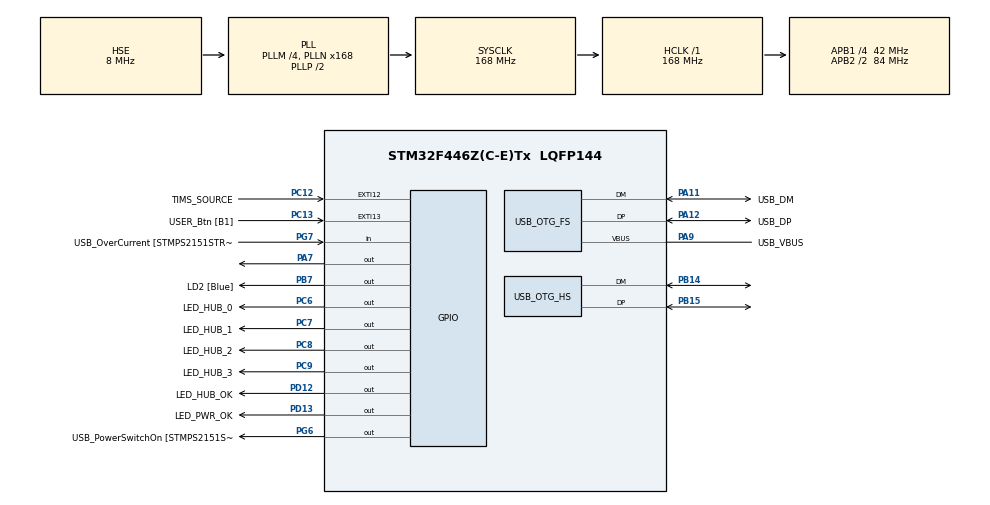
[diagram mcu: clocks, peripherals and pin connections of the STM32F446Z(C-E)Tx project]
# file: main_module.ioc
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Mcu.Family=STM32F4
Mcu.Name=STM32F446Z(C-E)Tx
Mcu.Package=LQFP144
NVIC.EXTI15_10_IRQn=true\:0\:0\:false\:false\:true\:true
NVIC.OTG_FS_IRQn=true\:0\:0\:false\:false\:true\:false
NVIC.OTG_HS_IRQn=true\:0\:0\:false\:false\:true\:false
NVIC.PriorityGroup=NVIC_PRIORITYGROUP_4
NVIC.TIM3_IRQn=true\:0\:0\:false\:false\:true\:true
PA10.GPIO_Label=USB_ID
PA10.Signal=USB_OTG_FS_ID
PA11.GPIO_Label=USB_DM
PA11.Mode=Host_Only
PA11.Signal=USB_OTG_FS_DM
PA12.GPIO_Label=USB_DP
PA12.Mode=Host_Only
PA12.Signal=USB_OTG_FS_DP
PA13.GPIO_Label=TMS
PA13.Mode=Serial_Wire
PA13.Signal=SYS_JTMS-SWDIO
PA14.GPIO_Label=TCK
PA14.Mode=Serial_Wire
PA14.Signal=SYS_JTCK-SWCLK
PA7.Signal=GPIO_Output
PA8.GPIO_Label=USB_SOF [TP1]
PA8.Signal=USB_OTG_FS_SOF
PA9.GPIO_Label=USB_VBUS
PA9.Mode=Activate_VBUS
PA9.Signal=USB_OTG_FS_VBUS
PB14.Mode=Device_Only_FS
PB14.Signal=USB_OTG_HS_DM
PB15.Mode=Device_Only_FS
PB15.Signal=USB_OTG_HS_DP
PB7.GPIO_Label=LD2 [Blue]
PB7.Signal=GPIO_Output
PC12.GPIO_Label=TIMS_SOURCE
PC12.Signal=GPXTI12
PC13.GPIO_Label=USER_Btn [B1]
PC13.Signal=GPXTI13
PC14-OSC32_IN.Mode=LSE-External-Oscillator
PC14-OSC32_IN.Signal=RCC_OSC32_IN
PC15-OSC32_OUT.Mode=LSE-External-Oscillator
PC15-OSC32_OUT.Signal=RCC_OSC32_OUT
PC6.GPIO_Label=LED_HUB_0
PC6.GPIO_PuPd=GPIO_PULLDOWN
PC6.Signal=GPIO_Output
PC7.GPIO_Label=LED_HUB_1
PC7.GPIO_PuPd=GPIO_PULLDOWN
PC7.Signal=GPIO_Output
PC8.GPIO_Label=LED_HUB_2
PC8.GPIO_PuPd=GPIO_PULLDOWN
PC8.Signal=GPIO_Output
PC9.GPIO_Label=LED_HUB_3
PC9.GPIO_PuPd=GPIO_PULLDOWN
PC9.Signal=GPIO_Output
PD12.GPIO_Label=LED_HUB_OK
PD12.GPIO_PuPd=GPIO_PULLDOWN
PD12.Signal=GPIO_Output
PD13.GPIO_Label=LED_PWR_OK
PD13.GPIO_PuPd=GPIO_PULLDOWN
PD13.Signal=GPIO_Output
PD8.GPIO_Label=STLK_RX [STM32F103CBT6_PA3]
PD8.Signal=USART3_TX
PD9.GPIO_Label=STLK_TX [STM32F103CBT6_PA2]
PD9.Signal=USART3_RX
PG6.GPIO_Label=USB_PowerSwitchOn [STMPS2151STR_EN]
PG6.Signal=GPIO_Output
PG7.GPIO_Label=USB_OverCurrent [STMPS2151STR_FAULT]
PG7.Signal=GPIO_Input
PH0-OSC_IN.GPIO_Label=MCO [STM32F103CBT6_PA8]
PH0-OSC_IN.Mode=HSE-External-Clock-Source
PH0-OSC_IN.Signal=RCC_OSC_IN
PH1-OSC_OUT.Mode=HSE-External-Clock-Source
PH1-OSC_OUT.Signal=RCC_OSC_OUT
ProjectManager.HeapSize=0x200
ProjectManager.StackSize=0x400
ProjectManager.TargetToolchain=TrueSTUDIO
RCC.48MHZClocksFreq_Value=24000000
RCC.AHBFreq_Value=168000000
RCC.APB1CLKDivider=RCC_HCLK_DIV4
RCC.APB1Freq_Value=42000000
RCC.APB1TimFreq_Value=84000000
RCC.APB2CLKDivider=RCC_HCLK_DIV2
RCC.APB2Freq_Value=84000000
RCC.APB2TimFreq_Value=168000000
RCC.CortexFreq_Value=168000000
RCC.HCLKFreq_Value=168000000
RCC.HSE_VALUE=8000000
RCC.HSI_VALUE=16000000
RCC.PLLM=4
RCC.PLLMUL=RCC_PLL_MUL9
RCC.PLLN=168
RCC.PLLQ=7
RCC.PRESCALERUSB=RCC_USBCLKSOURCE_PLL_DIV1_5
RCC.SYSCLKFreq_VALUE=168000000
RCC.SYSCLKSource=RCC_SYSCLKSOURCE_PLLCLK
RCC.SYSCLKSourceVirtual=RCC_SYSCLKSOURCE_PLLCLK
RCC.USBFreq_Value=48000000
RCC.VCOOutputFreq_Value=336000000
TIM3.Period=4199
TIM3.Prescaler=3
TIM3.TIM_MasterOutputTrigger=TIM_TRGO_UPDATE
USB_DEVICE.CLASS_NAME_HS=CDC
USB_DEVICE.VirtualMode-CDC_HS=Cdc
USB_DEVICE.VirtualModeHS=Cdc_HS
USB_HOST.USBH_HandleTypeDef-HID_FS=hUsbHostFS
USB_HOST.VirtualModeFS=Hid
USB_OTG_FS.VirtualMode=Host_Only
USB_OTG_FS.phy_itface=HCD_PHY_EMBEDDED
USB_OTG_HS.VirtualMode-Device_Only_FS=Device_Only_FS
VP_RTC_VS_RTC_Activate.Mode=RTC_Enabled
VP_RTC_VS_RTC_Calendar.Mode=RTC_Calendar
VP_TIM3_VS_ClockSourceINT.Mode=Internal
VP_USB_DEVICE_VS_USB_DEVICE_CDC_HS.Mode=CDC_HS
VP_USB_HOST_VS_USB_HOST_HID_FS.Mode=HID_FS
board=NUCLEO-F446ZE

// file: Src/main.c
/**
  ******************************************************************************
  * @file           : main.c
  * @brief          : Main program body
  ******************************************************************************
  * This notice applies to any and all portions of this file
  * that are not between comment pairs USER CODE BEGIN and
  * USER CODE END. Other portions of this file, whether
  * inserted by the user or by software development tools
  * are owned by their respective copyright owners.
  *
  * Copyright (c) 2018 STMicroelectronics International N.V.
  * All rights reserved.
  *
  * Redistribution and use in source and binary forms, with or without
  * modification, are permitted, provided that the following conditions are met:
  *
  * 1. Redistribution of source code must retain the above copyright notice,
  *    this list of conditions and the following disclaimer.
  * 2. Redistributions in binary form must reproduce the above copyright notice,
  *    this list of conditions and the following disclaimer in the documentation
  *    and/or other materials provided with the distribution.
  * 3. Neither the name of STMicroelectronics nor the names of other
  *    contributors to this software may be used to endorse or promote products
  *    derived from this software without specific written permission.
  * 4. This software, including modifications and/or derivative works of this
  *    software, must execute solely and exclusively on microcontroller or
  *    microprocessor devices manufactured by or for STMicroelectronics.
  * 5. Redistribution and use of this software other than as permitted under
  *    this license is void and will automatically terminate your rights under
  *    this license.
  *
  * THIS SOFTWARE IS PROVIDED BY STMICROELECTRONICS AND CONTRIBUTORS "AS IS"
  * AND ANY EXPRESS, IMPLIED OR STATUTORY WARRANTIES, INCLUDING, BUT NOT
  * LIMITED TO, THE IMPLIED WARRANTIES OF MERCHANTABILITY, FITNESS FOR A
  * PARTICULAR PURPOSE AND NON-INFRINGEMENT OF THIRD PARTY INTELLECTUAL PROPERTY
  * RIGHTS ARE DISCLAIMED TO THE FULLEST EXTENT PERMITTED BY LAW. IN NO EVENT
  * SHALL STMICROELECTRONICS OR CONTRIBUTORS BE LIABLE FOR ANY DIRECT, INDIRECT,
  * INCIDENTAL, SPECIAL, EXEMPLARY, OR CONSEQUENTIAL DAMAGES (INCLUDING, BUT NOT
  * LIMITED TO, PROCUREMENT OF SUBSTITUTE GOODS OR SERVICES; LOSS OF USE, DATA,
  * OR PROFITS; OR BUSINESS INTERRUPTION) HOWEVER CAUSED AND ON ANY THEORY OF
  * LIABILITY, WHETHER IN CONTRACT, STRICT LIABILITY, OR TORT (INCLUDING
  * NEGLIGENCE OR OTHERWISE) ARISING IN ANY WAY OUT OF THE USE OF THIS SOFTWARE,
  * EVEN IF ADVISED OF THE POSSIBILITY OF SUCH DAMAGE.
  *
  ******************************************************************************
  */
#include "main.h"
#include "stm32f4xx_hal.h"
#include "rtc.h"
#include "tim.h"
#include "usb_device.h"
#include "usb_host.h"
#include "gpio.h"

/* USER CODE BEGIN Includes */
#include "usbh_def.h"
#include "stm32f4xx.h"

#include "usbh_core.h"
#include "usbh_hid.h"
#include "usbh_hub.h"

#include "usbh_hid_digital_io.h"
#include "usbh_hid_analog_io.h"
#include "log.h"

#include "ring_buffer.h"
#include "cmd_interpreter.h"
#include <math.h>
/* USER CODE END Includes */

/* USER CODE BEGIN PV */
/* Private variables ---------------------------------------------------------*/

/* USER CODE END PV */

void SystemClock_Config(void);
void MX_USB_HOST_Process(void);

/* USER CODE BEGIN PFP */
/* Private function prototypes -----------------------------------------------*/

/* USER CODE END PFP */
USBH_HandleTypeDef hUSBHost[5];

static void USBH_UserProcess (USBH_HandleTypeDef *pHost, uint8_t vId);
static void hub_process();
/* USER CODE BEGIN 0 */
uint8_t enabled = 0;
uint8_t trigger = 0;
uint16_t sinus[200];
extern uint8_t UserRxBuffer[100];
ringBuffer_type VCP_Buffer;
uint8_t sync_flag = 0;
/* USER CODE END 0 */

int main(void)
{
	/* USER CODE BEGIN 1 */
	uint16_t sample;
	for (uint8_t i = 0; i < 200; i++)
	{
		sample = (uint16_t)rint(( sin(i*2*3.14/200)+1)*1024 );
		if (sample >= 4095)
		{
			sinus[i] = 4095;
		}
		else
		{
			sinus[i] = sample;
		}
	}
	/* USER CODE END 1 */

	/* MCU Configuration----------------------------------------------------------*/

	/* Reset of all peripherals, Initializes the Flash interface and the Systick. */
	HAL_Init();

	/* Configure the system clock */
	SystemClock_Config();

	/* Initialize all configured peripherals */
	MX_GPIO_Init();
	//MX_USART3_UART_Init();
	//MX_USB_HOST_Init();
	MX_USB_DEVICE_Init();
	MX_TIM3_Init();
	MX_RTC_Init();
	/* USER CODE BEGIN 2 */
	//LOG_INIT(USART3, 115200);

	//LOG("\033[2J\033[H");
	//LOG(" ");
	LOG("APP RUNNING...");
	LOG("MCU-ID %08X", DBGMCU->IDCODE);

	memset(&hUSBHost[0], 0, sizeof(USBH_HandleTypeDef));

	hUSBHost[0].valid   = 1;
	hUSBHost[0].address = USBH_DEVICE_ADDRESS;
	hUSBHost[0].Pipes   = USBH_malloc(sizeof(uint32_t) * USBH_MAX_PIPES_NBR);

	USBH_Init(&hUSBHost[0], USBH_UserProcess, ID_USB_HOST_FS);
	USBH_RegisterClass(&hUSBHost[0], USBH_HID_CLASS);
	USBH_RegisterClass(&hUSBHost[0], USBH_HUB_CLASS);

	USBH_Start(&hUSBHost[0]);

	Ring_Buffer_Reset(&VCP_Buffer);

	state_leds.hub_led = 0;
	state_leds.hub_port_led[0] = 0;
	state_leds.hub_port_led[1] = 0;
	state_leds.hub_port_led[2] = 0;
	state_leds.hub_port_led[3] = 0;
  /* USER CODE END 2 */

  /* Infinite loop */
  while (1)
  {
    //MX_USB_HOST_Process();
    hub_process();
  }

}

void SystemClock_Config(void)
{

  RCC_OscInitTypeDef RCC_OscInitStruct;
  RCC_ClkInitTypeDef RCC_ClkInitStruct;
  RCC_PeriphCLKInitTypeDef PeriphClkInitStruct;

    /**Configure the main internal regulator output voltage
    */
  __HAL_RCC_PWR_CLK_ENABLE();

  __HAL_PWR_VOLTAGESCALING_CONFIG(PWR_REGULATOR_VOLTAGE_SCALE1);

    /**Initializes the CPU, AHB and APB busses clocks
    */
  RCC_OscInitStruct.OscillatorType = RCC_OSCILLATORTYPE_LSI|RCC_OSCILLATORTYPE_HSE;
  RCC_OscInitStruct.HSEState = RCC_HSE_BYPASS;
  RCC_OscInitStruct.LSEState = RCC_LSE_ON;
  RCC_OscInitStruct.LSIState = RCC_LSI_ON;
  RCC_OscInitStruct.PLL.PLLState = RCC_PLL_ON;
  RCC_OscInitStruct.PLL.PLLSource = RCC_PLLSOURCE_HSE;
  RCC_OscInitStruct.PLL.PLLM = 4;
  RCC_OscInitStruct.PLL.PLLN = 168;
  RCC_OscInitStruct.PLL.PLLP = RCC_PLLP_DIV2;
  RCC_OscInitStruct.PLL.PLLQ = 7;
  RCC_OscInitStruct.PLL.PLLR = 2;
  if (HAL_RCC_OscConfig(&RCC_OscInitStruct) != HAL_OK)
  {
    _Error_Handler(__FILE__, __LINE__);
  }

    /**Initializes the CPU, AHB and APB busses clocks
    */
  RCC_ClkInitStruct.ClockType = RCC_CLOCKTYPE_HCLK|RCC_CLOCKTYPE_SYSCLK
                              |RCC_CLOCKTYPE_PCLK1|RCC_CLOCKTYPE_PCLK2;
  RCC_ClkInitStruct.SYSCLKSource = RCC_SYSCLKSOURCE_PLLCLK;
  RCC_ClkInitStruct.AHBCLKDivider = RCC_SYSCLK_DIV1;
  RCC_ClkInitStruct.APB1CLKDivider = RCC_HCLK_DIV4;
  RCC_ClkInitStruct.APB2CLKDivider = RCC_HCLK_DIV2;

  if (HAL_RCC_ClockConfig(&RCC_ClkInitStruct, FLASH_LATENCY_5) != HAL_OK)
  {
    _Error_Handler(__FILE__, __LINE__);
  }

  PeriphClkInitStruct.PeriphClockSelection = RCC_PERIPHCLK_RTC|RCC_PERIPHCLK_CLK48;
  PeriphClkInitStruct.RTCClockSelection = RCC_RTCCLKSOURCE_LSI;
  PeriphClkInitStruct.Clk48ClockSelection = RCC_CLK48CLKSOURCE_PLLQ;
  if (HAL_RCCEx_PeriphCLKConfig(&PeriphClkInitStruct) != HAL_OK)
  {
    _Error_Handler(__FILE__, __LINE__);
  }

    /**Configure the Systick interrupt time
    */
  HAL_SYSTICK_Config(HAL_RCC_GetHCLKFreq()/1000);

    /**Configure the Systick
    */
  HAL_SYSTICK_CLKSourceConfig(SYSTICK_CLKSOURCE_HCLK);

  /* SysTick_IRQn interrupt configuration */
  HAL_NVIC_SetPriority(SysTick_IRQn, 0, 0);
}

/* USER CODE BEGIN 4 */
void hub_process()
{
	static uint8_t current_loop = -1;
	static USBH_HandleTypeDef *_phost = 0;

	if(_phost != NULL && _phost->valid == 1)
	{
		USBH_Process(_phost);

		if(_phost->busy)
			return;
	}

	while(1)
	{
		uint8_t UserRxBuffer[100];
		uint8_t UserRxLength;
		current_loop++;
		volatile USBH_StatusTypeDef status;

		UserRxLength = Ring_Buffer_Search_Frame(&VCP_Buffer, UserRxBuffer);
		if (UserRxLength != 0)
		{
			if (UserRxBuffer[1] == 'D')
			{
				Command_Interpreter_Digital(UserRxBuffer);
			}
			else if (UserRxBuffer[1] == 'M')
			{
				Command_Interpreter_Main(UserRxBuffer);
			}
		}
		if(cmd_change_flag)
		{
			do
			{
				static uint8_t cnt = 0;
				change_buffer[0] = 6;
				//uint8_t test[7] = {6,0b11111111,0,0,0,0,0};
				status = USBH_HID_SetReport(&hUSBHost[0],cnt,0,change_buffer,7);
			}
			while(status != USBH_OK);
			CDC_Transmit_HS("CHANGE_OK\r\n", 12);
			HAL_Delay(1);
			cmd_change_flag = 0;
		}

		if(cmd_trigger_flag){
			do
			{
				static uint8_t cnt = 0;
				uint8_t test[2] = {1, 0xfe};
				status = USBH_HID_SetReport(&hUSBHost[0],cnt,0,test,2);
			}
			while(status != USBH_OK);
			CDC_Transmit_HS( "TRIGGER_OK\r\n", 12);
			HAL_Delay(1);
			cmd_trigger_flag = 0;
		}

		if(cmd_trigger_event_flag){
			do
			{
				static uint8_t cnt = 0;
				trig_event_buffer[0] = 5;
				status = USBH_HID_SetReport(&hUSBHost[0],cnt,0,trig_event_buffer,6);
			}
			while(status != USBH_OK);
			CDC_Transmit_HS( "TRIGGER_EVENT_OK\r\n", 19);
			HAL_Delay(1);
			cmd_trigger_event_flag = 0;
		}

		if(_phost != NULL && _phost->valid  && (sync_flag == 1))
		{
			HID_DIGITAL_IO_Info_TypeDef *dio;
			dio = USBH_HID_Get_Digital_IO_Info(_phost);
			if(dio != NULL)
			{
				uint8_t dir1 = (dio->ports[0].direction) ? 'O' : 'I';
				uint8_t dir2 = (dio->ports[1].direction) ? 'O' : 'I';
				uint8_t dir3 = (dio->ports[2].direction) ? 'O' : 'I';
				uint8_t dir4 = (dio->ports[3].direction) ? 'O' : 'I';
				uint8_t dir5 = (dio->ports[4].direction) ? 'O' : 'I';
				uint8_t dir6 = (dio->ports[5].direction) ? 'O' : 'I';
				LOG("%c0 %d %d %d %d \r\n%c1 %d %d %d %d \r\n%c2 %d %d %d %d \r\n%c3 %d %d %d %d \r\n%c4 %d %d %d %d \r\n%c5 %d %d %d %d ",
						dir1,
						dio->ports[0].pins[0],
						dio->ports[0].pins[1],
						dio->ports[0].pins[2],
						dio->ports[0].pins[3],
						dir2,
						dio->ports[1].pins[0],
						dio->ports[1].pins[1],
						dio->ports[1].pins[2],
						dio->ports[1].pins[3],
						dir3,
						dio->ports[2].pins[0],
						dio->ports[2].pins[1],
						dio->ports[2].pins[2],
						dio->ports[2].pins[3],
						dir4,
						dio->ports[3].pins[0],
						dio->ports[3].pins[1],
						dio->ports[3].pins[2],
						dio->ports[3].pins[3],
						dir5,
						dio->ports[4].pins[0],
						dio->ports[4].pins[1],
						dio->ports[4].pins[2],
						dio->ports[4].pins[3],
						dir6,
						dio->ports[5].pins[0],
						dio->ports[5].pins[1],
						dio->ports[5].pins[2],
						dio->ports[5].pins[3]);
				HAL_Delay(1);
			}
			else
			{
				state_leds.hub_port_led[3] = 0;
				HAL_GPIO_WritePin(LED_HUB_0_GPIO_Port, LED_HUB_0_Pin, GPIO_PIN_RESET);
			}
			HID_ANALOG_IO_Info_TypeDef *aio;
			aio = USBH_HID_Get_Analog_IO_Info(_phost);
			if(aio != NULL)
			{
				static uint8_t idx = 0;
				idx ++;
				// for test
				//LOG("ADC0: %d ADC1: %d DAC0: %d ", rand() % 1200, sinus[idx % 200], sinus[idx+20 % 200]);
				LOG("ADC0: %d ADC1: %d DAC0: %d ", aio->in[0], aio->in[1], aio->out[0]);
				if (idx > 199)
				{
					idx = 0;
				}
				HAL_Delay(1);
			}
			else
			{
				state_leds.hub_port_led[2] = 0;
				HAL_GPIO_WritePin(LED_HUB_1_GPIO_Port, LED_HUB_1_Pin, GPIO_PIN_RESET);
			}
		}
		if(current_loop > MAX_HUB_PORTS)
			current_loop = 0;

		if(hUSBHost[current_loop].valid)
		{

			_phost = &hUSBHost[current_loop];
			USBH_LL_SetupEP0(_phost);

			if(_phost->valid == 3)
			{
LOG("PROCESSING ATTACH %d \r\n", _phost->address);
				_phost->valid = 1;
				_phost->busy  = 1;
			}

			break;
		}
	}

}

void USBH_UserProcess (USBH_HandleTypeDef *pHost, uint8_t vId)
{
	switch (vId)
	{
		case HOST_USER_SELECT_CONFIGURATION:
			break;

		case HOST_USER_CLASS_SELECTED:
			break;

		case HOST_USER_CLASS_ACTIVE:
			break;

		case HOST_USER_CONNECTION:
			break;

		case HOST_USER_DISCONNECTION:
			break;

		case HOST_USER_UNRECOVERED_ERROR:
			break;

		default:
			break;
	}
}

/**
  * @brief  EXTI line detection callbacks.
  * @param  GPIO_Pin Specifies the pins connected EXTI line
  * @retval None
  */
void HAL_GPIO_EXTI_Callback(uint16_t GPIO_Pin)
{
  /* Prevent unused argument(s) compilation warning */
	if(GPIO_Pin == GPIO_PIN_13)
	{
		enabled = 1;
	}
	else
	{
		trigger = 1;
	}

  /* NOTE: This function Should not be modified, when the callback is needed,
           the HAL_GPIO_EXTI_Callback could be implemented in the user file
   */
}

/* USER CODE END 4 */

void _Error_Handler(char *file, int line)
{
  while(1)
  {
  }
}

/************************ (C) COPYRIGHT STMicroelectronics *****END OF FILE****/
